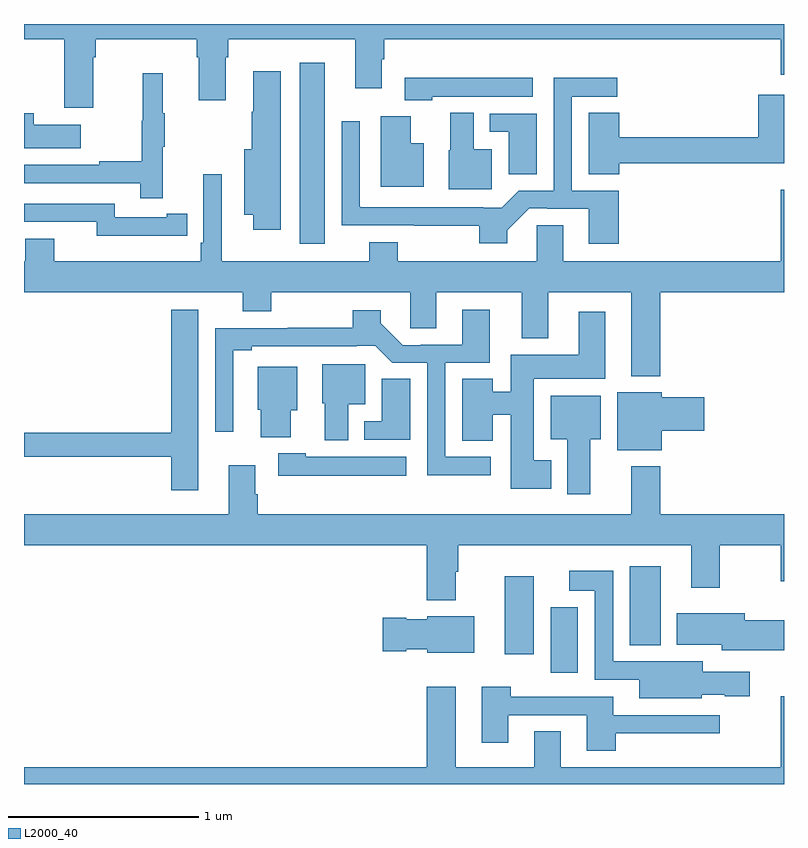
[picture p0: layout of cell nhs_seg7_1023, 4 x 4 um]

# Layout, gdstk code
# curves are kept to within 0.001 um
import gdstk
lib = gdstk.Library(unit=1e-6, precision=1e-09)
def R(c, l, rs):  # rectangles x0, y0, x1, y1
    for r in rs: c.add(gdstk.rectangle(r[:2], r[2:], *l))
def P(c, l, *ps):  # polygons
    for p in ps: c.add(gdstk.Polygon(p, *l))
L2000_40 = (2000, 40)

nhs_seg7_1023 = lib.new_cell('nhs_seg7_1023')
R(nhs_seg7_1023, L2000_40, [(187.772,1026.585,187.915,1026.931), (187.529,1026.684,187.684,1027.093), (188.189,1026.731,188.35,1027.147), (186.452,1028.844,186.583,1029.796)])
P(nhs_seg7_1023, L2000_40, [(185,1029.92),(185.213,1029.92),(185.213,1029.558),(185.365,1029.558),(185.365,1029.824),(185.378,1029.824),(185.378,1029.92),(185.909,1029.92),(185.909,1029.824),(185.921,1029.824),(185.921,1029.6),(186.061,1029.6),(186.061,1029.824),(186.074,1029.824),(186.074,1029.92),(186.743,1029.92),(186.743,1029.663),(186.883,1029.663),(186.883,1029.814),(186.896,1029.814),(186.896,1029.92),(188.984,1029.92),(188.984,1029.732),(189,1029.732),(189,1030),(185,1030)],
  [(186.352,1029.751),(186.206,1029.751),(186.206,1029.537),(186.199,1029.537),(186.199,1029.34),(186.158,1029.34),(186.158,1028.996),(186.206,1028.996),(186.206,1028.916),(186.352,1028.916)],
  [(185.729,1029.355),(185.74,1029.355),(185.74,1029.529),(185.729,1029.529),(185.729,1029.742),(185.626,1029.742),(185.626,1029.492),(185.619,1029.492),(185.619,1029.278),(185.395,1029.278),(185.395,1029.258),(185,1029.258),(185,1029.162),(185.611,1029.162),(185.611,1029.084),(185.729,1029.084)],
  [(187.149,1029.617),(187.678,1029.617),(187.678,1029.718),(187.005,1029.718),(187.005,1029.599),(187.149,1029.599)],
  [(188.129,1029.123),(187.884,1029.123),(187.884,1029.618),(188.122,1029.618),(188.122,1029.716),(187.788,1029.716),(187.788,1029.123),(187.604,1029.123),(187.514,1029.033),(187.418,1029.033),(187.418,1029.036),(186.769,1029.036),(186.768,1029.487),(186.672,1029.487),(186.672,1028.94),(187.396,1028.939),(187.396,1028.846),(187.543,1028.846),(187.543,1028.914),(187.659,1029.03),(187.753,1029.03),(187.753,1029.027),(187.973,1029.027),(187.973,1028.844),(188.129,1028.844)],
  [(188.134,1029.268),(189,1029.268),(189,1029.628),(188.864,1029.628),(188.864,1029.404),(188.134,1029.404),(188.134,1029.533),(187.973,1029.533),(187.973,1029.208),(188.134,1029.208)],
  [(187.462,1029.34),(187.366,1029.34),(187.366,1029.532),(187.244,1029.532),(187.244,1029.336),(187.235,1029.336),(187.235,1029.131),(187.462,1029.131)],
  [(185.299,1029.469),(185.051,1029.469),(185.051,1029.529),(185,1029.529),(185,1029.347),(185.299,1029.347)],
  [(187.699,1029.528),(187.452,1029.528),(187.452,1029.432),(187.55,1029.432),(187.55,1029.208),(187.699,1029.208)],
  [(187.105,1029.373),(187.036,1029.373),(187.036,1029.514),(186.878,1029.514),(186.878,1029.143),(187.105,1029.143)],
  [(188.348,1028.588),(189,1028.588),(189,1029.127),(188.984,1029.127),(188.984,1028.752),(187.837,1028.752),(187.837,1028.942),(187.698,1028.942),(187.698,1028.752),(186.966,1028.752),(186.966,1028.851),(186.818,1028.851),(186.818,1028.752),(186.04,1028.752),(186.04,1029.208),(185.943,1029.208),(185.943,1028.848),(185.93,1028.848),(185.93,1028.752),(185.158,1028.752),(185.158,1028.869),(185.006,1028.869),(185.006,1028.752),(185,1028.752),(185,1028.588),(186.152,1028.588),(186.152,1028.489),(186.3,1028.489),(186.3,1028.588),(187.032,1028.588),(187.032,1028.398),(187.171,1028.398),(187.171,1028.588),(187.619,1028.588),(187.619,1028.345),(187.759,1028.345),(187.759,1028.588),(188.195,1028.588),(188.195,1028.147),(188.348,1028.147)],
  [(185.75,1028.886),(185.858,1028.886),(185.858,1029.002),(185.75,1029.002),(185.75,1028.982),(185.478,1028.982),(185.478,1029.054),(185,1029.054),(185,1028.958),(185.382,1028.958),(185.382,1028.885),(185.75,1028.885)],
  [(187.456,1027.722),(187.218,1027.722),(187.218,1028.217),(187.45,1028.217),(187.45,1028.497),(187.307,1028.497),(187.307,1028.313),(187.087,1028.313),(187.087,1028.31),(186.993,1028.31),(186.877,1028.426),(186.877,1028.494),(186.73,1028.494),(186.73,1028.402),(186.388,1028.402),(186.388,1028.4),(186.006,1028.4),(186.006,1027.853),(186.102,1027.853),(186.102,1028.284),(186.199,1028.284),(186.199,1028.304),(186.752,1028.304),(186.752,1028.307),(186.848,1028.307),(186.938,1028.217),(187.122,1028.217),(187.122,1027.625),(187.456,1027.625)],
  [(185.917,1028.497),(185.774,1028.497),(185.774,1027.85),(185,1027.85),(185,1027.722),(185.774,1027.722),(185.774,1027.545),(185.917,1027.545)],
  [(187.774,1027.705),(187.684,1027.705),(187.684,1028.132),(188.059,1028.132),(188.059,1028.485),(187.919,1028.485),(187.919,1028.26),(187.562,1028.26),(187.562,1028.065),(187.468,1028.065),(187.468,1028.132),(187.307,1028.132),(187.307,1027.807),(187.468,1027.807),(187.468,1027.943),(187.562,1027.943),(187.562,1027.553),(187.774,1027.553)],
  [(186.706,1028),(186.796,1028),(186.796,1028.209),(186.569,1028.209),(186.569,1028.004),(186.584,1028.004),(186.584,1027.808),(186.706,1027.808)],
  [(186.403,1027.967),(186.439,1027.967),(186.439,1028.197),(186.23,1028.197),(186.23,1027.971),(186.245,1027.971),(186.245,1027.826),(186.403,1027.826)],
  [(187.033,1028.132),(186.884,1028.132),(186.884,1027.908),(186.791,1027.908),(186.791,1027.812),(187.033,1027.812)],
  [(188.356,1027.858),(188.581,1027.858),(188.581,1028.036),(188.356,1028.036),(188.356,1028.062),(188.123,1028.062),(188.123,1027.757),(188.356,1027.757)],
  [(187.981,1027.814),(188.035,1027.814),(188.035,1028.044),(187.772,1028.044),(187.772,1027.814),(187.859,1027.814),(187.859,1027.524),(187.981,1027.524)],
  [(187.012,1027.723),(186.483,1027.723),(186.483,1027.741),(186.339,1027.741),(186.339,1027.622),(187.012,1027.622)],
  [(187.273,1027.118),(187.286,1027.118),(187.286,1027.256),(188.513,1027.256),(188.513,1027.032),(188.661,1027.032),(188.661,1027.256),(188.984,1027.256),(188.984,1027.068),(189,1027.068),(189,1027.42),(188.348,1027.42),(188.348,1027.672),(188.195,1027.672),(188.195,1027.42),(186.23,1027.42),(186.23,1027.526),(186.217,1027.526),(186.217,1027.678),(186.077,1027.678),(186.077,1027.42),(185,1027.42),(185,1027.256),(187.121,1027.256),(187.121,1026.968),(187.273,1026.968)],
  [(188.568,1026.47),(188.688,1026.47),(188.688,1026.463),(188.821,1026.463),(188.821,1026.592),(188.572,1026.592),(188.572,1026.646),(188.346,1026.646),(188.346,1026.645),(188.1,1026.645),(188.1,1027.123),(187.869,1027.123),(187.869,1027.016),(188.004,1027.016),(188.004,1026.549),(188.237,1026.549),(188.237,1026.452),(188.568,1026.452)],
  [(189,1026.862),(188.794,1026.862),(188.794,1026.898),(188.435,1026.898),(188.435,1026.734),(188.672,1026.734),(188.672,1026.704),(189,1026.704)],
  [(187.369,1026.883),(187.122,1026.883),(187.122,1026.868),(187.011,1026.868),(187.011,1026.876),(186.888,1026.876),(186.888,1026.698),(187.011,1026.698),(187.011,1026.71),(187.122,1026.71),(187.122,1026.692),(187.369,1026.692)],
  [(189,1026.463),(188.984,1026.463),(188.984,1026.088),(187.825,1026.088),(187.825,1026.278),(187.685,1026.278),(187.685,1026.088),(187.273,1026.088),(187.273,1026.511),(187.121,1026.511),(187.121,1026.088),(185,1026.088),(185,1026),(189,1026)],
  [(188.114,1026.266),(188.662,1026.266),(188.662,1026.363),(188.101,1026.363),(188.101,1026.459),(187.562,1026.459),(187.562,1026.511),(187.409,1026.511),(187.409,1026.216),(187.549,1026.216),(187.549,1026.363),(187.961,1026.363),(187.961,1026.174),(188.114,1026.174)])

lib.write_gds('nhs_seg7_1023.gds')
